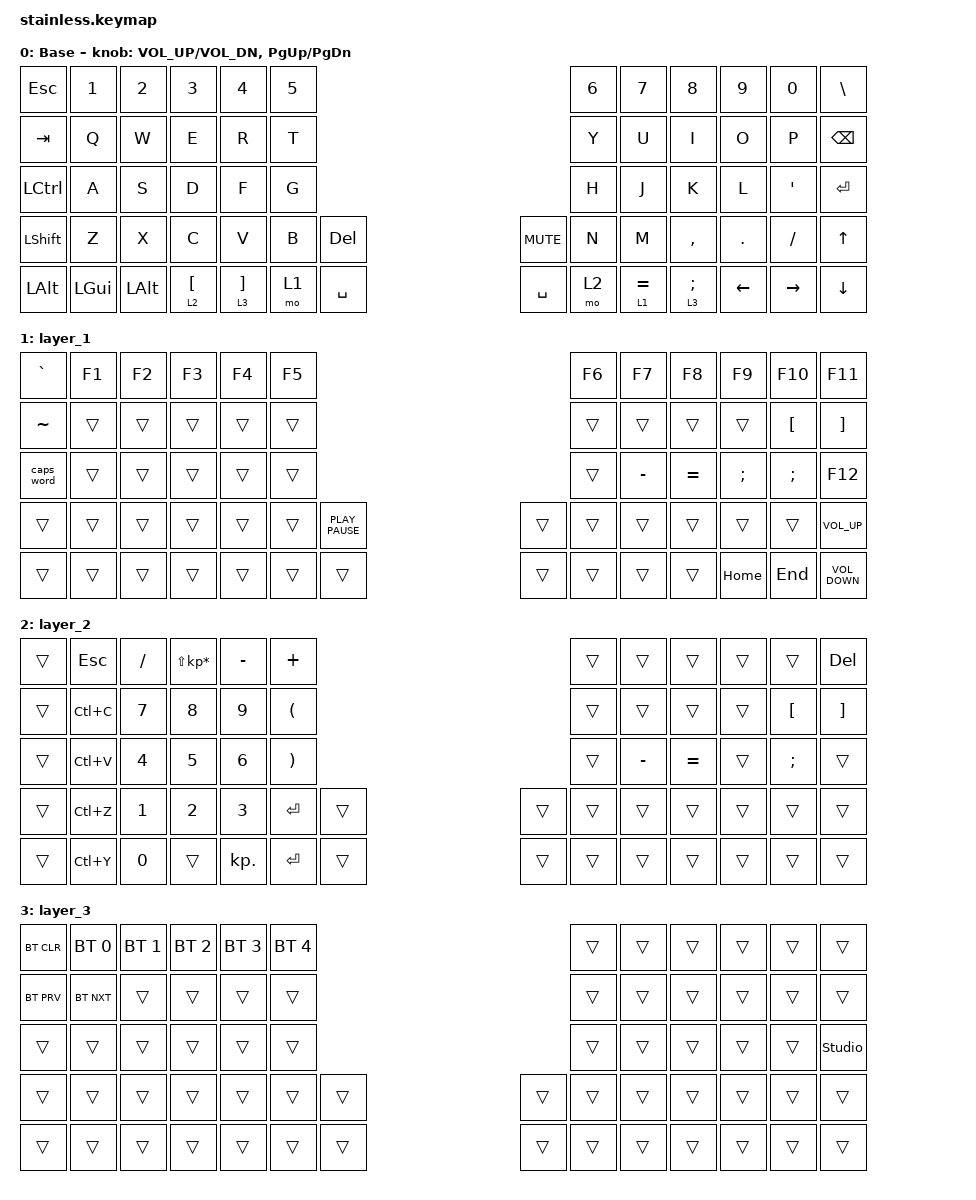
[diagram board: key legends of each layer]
#include <behaviors.dtsi>
#include <dt-bindings/zmk/bt.h>
#include <dt-bindings/zmk/keys.h>

/ {
    behaviors {
        encoder_left: encoder_left {
            compatible = "zmk,behavior-sensor-rotate";
            label = "ENCODER_LEFT";
            #sensor-binding-cells = <0>;
            bindings = <&kp END>, <&kp HOME>;
        };

        sensor_right: sensor_right {
            compatible = "zmk,behavior-sensor-rotate";
            label = "SENSOR_RIGHT";
            #sensor-binding-cells = <0>;
            bindings = <&kp K_VOLUME_UP>, <&kp K_VOLUME_DOWN>;
        };
    };

    keymap {
        compatible = "zmk,keymap";

        default_layer {
            display-name = "Base";
            bindings = <
&kp ESC    &kp N1    &kp N2    &kp N3              &kp N4               &kp N5                         &kp N6  &kp N7       &kp N8           &kp N9    &kp N0     &kp BSLH
&kp TAB    &kp Q     &kp W     &kp E               &kp R                &kp T                          &kp Y   &kp U        &kp I            &kp O     &kp P      &kp BSPC
&kp LCTRL  &kp A     &kp S     &kp D               &kp F                &kp G                          &kp H   &kp J        &kp K            &kp L     &kp SQT    &kp RET
&kp LSHFT  &kp Z     &kp X     &kp C               &kp V                &kp B   &kp DEL    &kp K_MUTE  &kp N   &kp M        &kp COMMA        &kp DOT   &kp FSLH   &kp UP
&kp LALT   &kp LGUI  &kp LALT  &lt 2 LEFT_BRACKET  &lt 3 RIGHT_BRACKET  &mo 1   &kp SPACE  &kp SPACE   &mo 2   &lt 1 EQUAL  &lt 3 SEMICOLON  &kp LEFT  &kp RIGHT  &kp DOWN
            >;

            sensor-bindings = <&inc_dec_kp C_VOL_UP C_VOL_DN &inc_dec_kp PG_UP PG_DN>;
        };

        layer_1 {
            bindings = <
&kp GRAVE   &kp F1  &kp F2  &kp F3  &kp F4  &kp F5                            &kp F6  &kp F7     &kp F8     &kp F9         &kp F10           &kp F11
&kp TILDE   &trans  &trans  &trans  &trans  &trans                            &trans  &trans     &trans     &trans         &kp LEFT_BRACKET  &kp RIGHT_BRACKET
&caps_word  &trans  &trans  &trans  &trans  &trans                            &trans  &kp MINUS  &kp EQUAL  &kp SEMICOLON  &kp SEMICOLON     &kp F12
&trans      &trans  &trans  &trans  &trans  &trans  &kp K_PLAY_PAUSE  &trans  &trans  &trans     &trans     &trans         &trans            &kp K_VOLUME_UP
&trans      &trans  &trans  &trans  &trans  &trans  &trans            &trans  &trans  &trans     &trans     &kp HOME       &kp END           &kp K_VOLUME_DOWN
            >;
        };

        layer_2 {
            bindings = <
&trans  &kp ESC    &kp FSLH  &kp LS(KP_MULTIPLY)  &kp MINUS   &kp PLUS                  &trans  &trans     &trans     &trans  &trans            &kp DELETE
&trans  &kp LC(C)  &kp N7    &kp N8               &kp N9      &kp LPAR                  &trans  &trans     &trans     &trans  &kp LEFT_BRACKET  &kp RIGHT_BRACKET
&trans  &kp LC(V)  &kp N4    &kp N5               &kp N6      &kp RPAR                  &trans  &kp MINUS  &kp EQUAL  &trans  &kp SEMICOLON     &trans
&trans  &kp LC(Z)  &kp N1    &kp N2               &kp N3      &kp RET   &trans  &trans  &trans  &trans     &trans     &trans  &trans            &trans
&trans  &kp LC(Y)  &kp N0    &trans               &kp KP_DOT  &kp RET   &trans  &trans  &trans  &trans     &trans     &trans  &trans            &trans
            >;
        };

        layer_3 {
            bindings = <
&bt BT_CLR  &bt BT_SEL 0  &bt BT_SEL 1  &bt BT_SEL 2  &bt BT_SEL 3  &bt BT_SEL 4                  &trans  &trans  &trans  &trans  &trans  &trans
&bt BT_PRV  &bt BT_NXT    &trans        &trans        &trans        &trans                        &trans  &trans  &trans  &trans  &trans  &trans
&trans      &trans        &trans        &trans        &trans        &trans                        &trans  &trans  &trans  &trans  &trans  &studio_unlock
&trans      &trans        &trans        &trans        &trans        &trans        &trans  &trans  &trans  &trans  &trans  &trans  &trans  &trans
&trans      &trans        &trans        &trans        &trans        &trans        &trans  &trans  &trans  &trans  &trans  &trans  &trans  &trans
            >;
        };
    };
};
